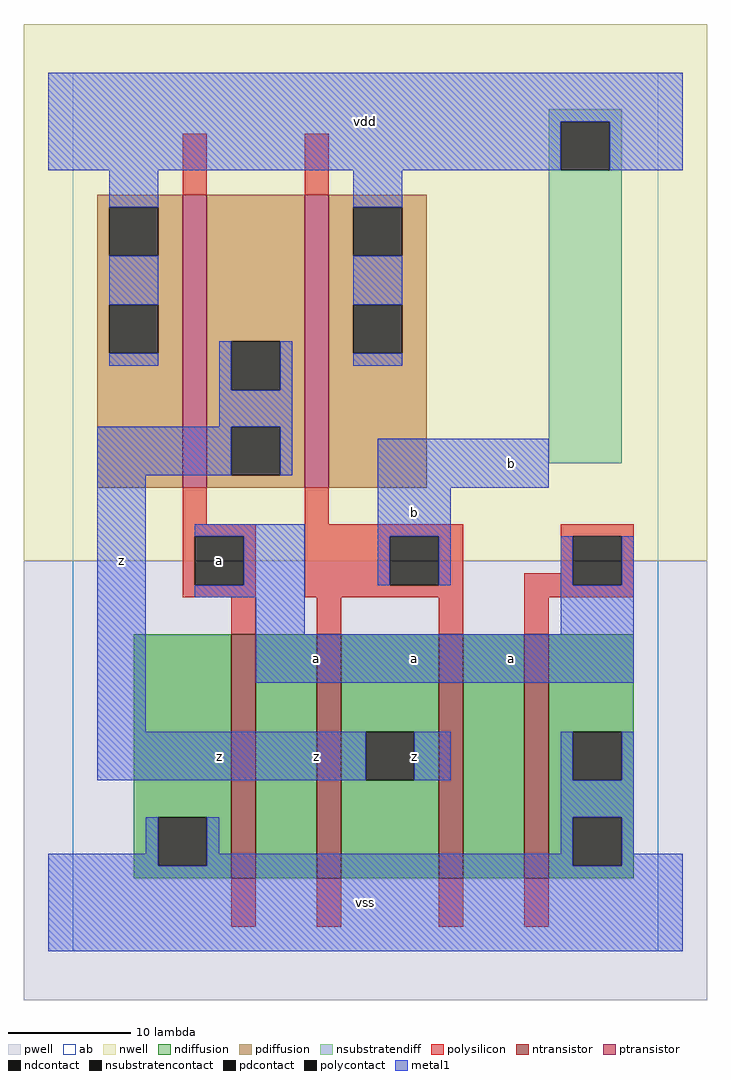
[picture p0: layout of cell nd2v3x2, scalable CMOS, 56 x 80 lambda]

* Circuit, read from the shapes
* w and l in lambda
.subckt nd2v3x2 a b vdd vss z
M1 n1 a vss VSUBS nfet w=20 l=2
M2 z b n1 VSUBS nfet w=20 l=2
M3 n2 b z VSUBS nfet w=20 l=2
M4 vss a n2 VSUBS nfet w=20 l=2
M5 z a vdd vdd pfet w=24 l=2
M6 vdd b z vdd pfet w=24 l=2
.ends

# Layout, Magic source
magic
tech scmos
<< ab >>
rect 0 0 48 72
<< pwell >>
rect -4 -4 52 32
<< nwell >>
rect -4 32 52 76
<< polysilicon >>
rect 9 62 11 67
rect 19 62 21 67
rect 9 35 11 38
rect 19 35 21 38
rect 9 34 15 35
rect 9 30 10 34
rect 14 30 15 34
rect 9 29 15 30
rect 19 34 32 35
rect 19 30 26 34
rect 30 30 32 34
rect 40 34 46 35
rect 40 31 41 34
rect 19 29 32 30
rect 13 26 15 29
rect 20 26 22 29
rect 30 26 32 29
rect 37 30 41 31
rect 45 30 46 34
rect 37 29 46 30
rect 37 26 39 29
rect 13 2 15 6
rect 20 2 22 6
rect 30 2 32 6
rect 37 2 39 6
<< ndiffusion >>
rect 5 11 13 26
rect 5 7 7 11
rect 11 7 13 11
rect 5 6 13 7
rect 15 6 20 26
rect 22 18 30 26
rect 22 14 24 18
rect 28 14 30 18
rect 22 6 30 14
rect 32 6 37 26
rect 39 18 46 26
rect 39 14 41 18
rect 45 14 46 18
rect 39 11 46 14
rect 39 7 41 11
rect 45 7 46 11
rect 39 6 46 7
<< pdiffusion >>
rect 2 61 9 62
rect 2 57 3 61
rect 7 57 9 61
rect 2 53 9 57
rect 2 49 3 53
rect 7 49 9 53
rect 2 38 9 49
rect 11 50 19 62
rect 11 46 13 50
rect 17 46 19 50
rect 11 43 19 46
rect 11 39 13 43
rect 17 39 19 43
rect 11 38 19 39
rect 21 61 29 62
rect 21 57 23 61
rect 27 57 29 61
rect 21 53 29 57
rect 21 49 23 53
rect 27 49 29 53
rect 21 38 29 49
<< metal1 >>
rect -2 68 50 72
rect -2 64 40 68
rect 44 64 50 68
rect 3 61 7 64
rect 3 53 7 57
rect 23 61 27 64
rect 23 53 27 57
rect 3 48 7 49
rect 12 46 13 50
rect 17 46 18 50
rect 23 48 27 49
rect 12 43 18 46
rect 2 39 13 43
rect 17 39 18 43
rect 2 18 6 39
rect 25 38 39 42
rect 10 34 19 35
rect 14 30 19 34
rect 25 34 31 38
rect 25 30 26 34
rect 30 30 31 34
rect 40 30 41 34
rect 45 30 46 34
rect 10 29 19 30
rect 15 26 19 29
rect 40 26 46 30
rect 15 22 46 26
rect 2 14 24 18
rect 28 14 31 18
rect 40 14 41 18
rect 45 14 46 18
rect 40 11 46 14
rect 6 8 7 11
rect -2 7 7 8
rect 11 8 12 11
rect 40 8 41 11
rect 11 7 41 8
rect 45 8 46 11
rect 45 7 50 8
rect -2 0 50 7
<< ntransistor >>
rect 13 6 15 26
rect 20 6 22 26
rect 30 6 32 26
rect 37 6 39 26
<< ptransistor >>
rect 9 38 11 62
rect 19 38 21 62
<< polycontact >>
rect 10 30 14 34
rect 26 30 30 34
rect 41 30 45 34
<< ndcontact >>
rect 7 7 11 11
rect 24 14 28 18
rect 41 14 45 18
rect 41 7 45 11
<< pdcontact >>
rect 3 57 7 61
rect 3 49 7 53
rect 13 46 17 50
rect 13 39 17 43
rect 23 57 27 61
rect 23 49 27 53
<< nsubstratencontact >>
rect 40 64 44 68
<< nsubstratendiff >>
rect 39 68 45 69
rect 39 64 40 68
rect 44 64 45 68
rect 39 40 45 64
<< labels >>
rlabel metal1 4 32 4 32 6 z
rlabel metal1 20 16 20 16 6 z
rlabel metal1 12 16 12 16 6 z
rlabel polycontact 12 32 12 32 6 a
rlabel metal1 20 24 20 24 6 a
rlabel metal1 24 4 24 4 6 vss
rlabel metal1 28 16 28 16 6 z
rlabel metal1 28 24 28 24 6 a
rlabel metal1 28 36 28 36 6 b
rlabel metal1 24 68 24 68 6 vdd
rlabel metal1 36 24 36 24 6 a
rlabel metal1 36 40 36 40 6 b
<< end >>
